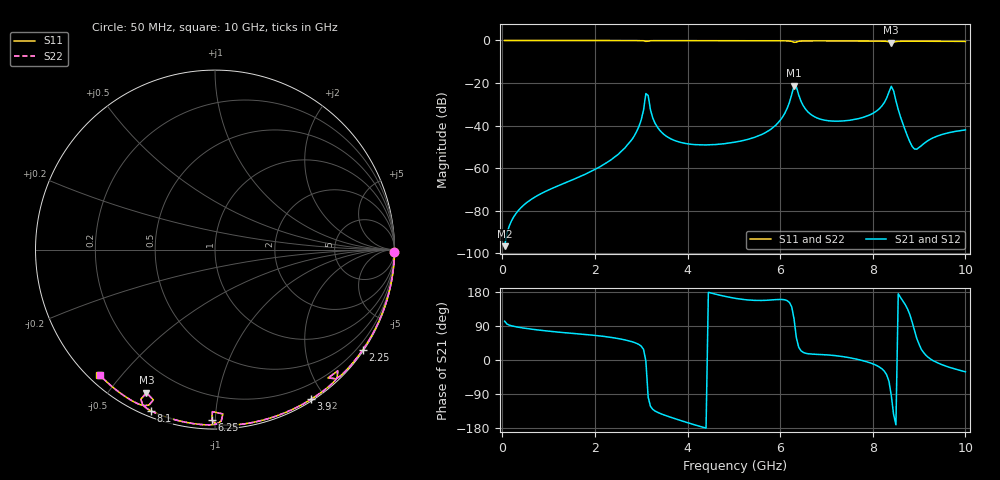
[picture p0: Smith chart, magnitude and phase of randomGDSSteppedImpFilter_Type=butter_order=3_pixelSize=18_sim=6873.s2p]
! freq	dB(S11)	phase(S11)	dB(S12)	phase(S12)
!  dB(S21)	phase(S21)	dB(S22)	phase(S22)
!S-par simulation data
#  GHz  S  DB  R 50
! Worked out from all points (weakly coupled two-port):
!   200 points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, 50 MHz to 10 GHz, reference 50 ohm
!   highest |S21| = -21.23 dB at 6.3 GHz (marker M1); lowest = -96.7 dB at 50 MHz (marker M2)
!   lowest |S11| = -1.1 dB at 8.4 GHz (marker M3), VSWR 16.18, Z = 4.31 - j31.3 ohm
!   |S11| at or under -10 dB: nowhere
!   |S22| runs from -1.1 to 0.0 dB; largest |S21 - S12| = 0
!   S11 on the Smith chart (normalised r, x): 50 MHz: open; 2.25 GHz: 0.03, -3.27; 3.9 GHz: 0.02, -1.83; 6.25 GHz: 0.05, -0.98; 8.1 GHz: 0.02, -0.68; 10 GHz: 0.03, -0.44
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0.05  -0.00 -0.8  -96.69 102.4  -96.69 102.4  -0.00 -0.8
1.75  -0.03 -26.6  -63.27 67.8  -63.27 67.8  -0.03 -26.6
2.25  -0.04 -34.0  -57.49 61.4  -57.49 61.4  -0.04 -34.0
2.85  -0.06 -43.0  -44.88 46.3  -44.88 46.3  -0.06 -43.0
3  -0.08 -45.6  -37.30 36.5  -37.30 36.5  -0.08 -45.6
3.1  -0.42 -48.7  -24.95 -2.2  -24.95 -2.2  -0.42 -48.6
3.15  -0.34 -44.6  -25.89 -98.1  -25.89 -98.1  -0.34 -44.6
3.25  -0.09 -47.6  -36.45 -130.3  -36.45 -130.3  -0.09 -47.6
3.4  -0.07 -50.1  -42.21 -140.6  -42.21 -140.6  -0.07 -50.1
3.9  -0.08 -57.4  -48.16 -161.6  -48.16 -161.6  -0.08 -57.4
5.05  -0.11 -73.1  -47.70 162.4  -47.70 162.4  -0.11 -73.1
5.9  -0.15 -84.6  -39.94 159.2  -39.94 159.2  -0.15 -84.6
6.25  -0.44 -91.1  -25.37 140.1  -25.37 140.1  -0.44 -91.0
6.3  -0.89 -91.0  -21.23 108.5  -21.23 108.5  -0.88 -90.9
6.7  -0.20 -93.4  -35.32 15.5  -35.32 15.5  -0.20 -93.4
7.4  -0.23 -102.5  -37.77 8.1  -37.77 8.1  -0.23 -102.5
8.1  -0.29 -111.6  -32.86 -15.5  -32.86 -15.5  -0.29 -111.6
8.35  -0.63 -116.4  -24.21 -56.3  -24.21 -56.3  -0.63 -116.3
8.4  -1.08 -115.6  -21.55 -94.0  -21.55 -94.0  -1.07 -115.6
8.7  -0.35 -116.8  -42.16 146.4  -42.16 146.4  -0.35 -116.8
8.9  -0.35 -119.5  -51.02 78.2  -51.02 78.2  -0.35 -119.5
10  -0.46 -132.7  -42.05 -31.1  -42.05 -31.1  -0.46 -132.7
